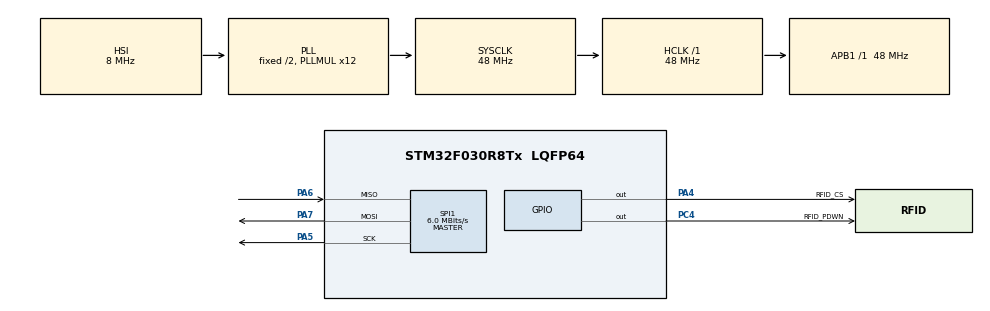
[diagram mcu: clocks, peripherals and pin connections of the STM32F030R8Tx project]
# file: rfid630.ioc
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Mcu.Family=STM32F0
Mcu.Name=STM32F030R8Tx
Mcu.Package=LQFP64
PA4.GPIO_Label=RFID_CS
PA4.Signal=GPIO_Output
PA5.Mode=Full_Duplex_Master
PA5.Signal=SPI1_SCK
PA6.Mode=Full_Duplex_Master
PA6.Signal=SPI1_MISO
PA7.Mode=Full_Duplex_Master
PA7.Signal=SPI1_MOSI
PC4.GPIO_Label=RFID_PDWN
PC4.Signal=GPIO_Output
ProjectManager.HeapSize=0x1000
ProjectManager.StackSize=0x1000
ProjectManager.TargetToolchain=EWARM V8
RCC.AHBFreq_Value=48000000
RCC.APB1Freq_Value=48000000
RCC.APB1TimFreq_Value=48000000
RCC.HCLKFreq_Value=48000000
RCC.PLLMUL=RCC_PLL_MUL12
RCC.SYSCLKFreq_VALUE=48000000
RCC.SYSCLKSource=RCC_SYSCLKSOURCE_PLLCLK
SPI1.BaudRatePrescaler=SPI_BAUDRATEPRESCALER_8
SPI1.CalculateBaudRate=6.0 MBits/s
SPI1.DataSize=SPI_DATASIZE_8BIT
SPI1.Direction=SPI_DIRECTION_2LINES
SPI1.Mode=SPI_MODE_MASTER
SPI1.VirtualType=VM_MASTER
board=custom

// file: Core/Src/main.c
/* USER CODE BEGIN Header */
/**
  ******************************************************************************
  * @file           : main.c
  * @brief          : Main program body
  ******************************************************************************
  * @attention
  *
  * <h2><center>&copy; Copyright (c) 2020 STMicroelectronics.
  * All rights reserved.</center></h2>
  *
  * This software component is licensed by ST under BSD 3-Clause license,
  * the "License"; You may not use this file except in compliance with the
  * License. You may obtain a copy of the License at:
  *                        opensource.org/licenses/BSD-3-Clause
  *
  ******************************************************************************
  */
/* USER CODE END Header */
#include "main.h"
#include "spi.h"
#include "gpio.h"

/* USER CODE BEGIN Includes */
#include <Adafruit_MFRC630.h>
/* USER CODE END Includes */

void SystemClock_Config(void);

/* USER CODE BEGIN 0 */

/* Use the default I2C address */
//MFRC630 rfid = MFRC630();

/* Prints out len bytes of hex data in table format. */
static void print_buf_hex(uint8_t* buf, size_t len)
{
    for (uint8_t i = 0; i < len; i++) {
        PRINT("0x%02x ", buf[i]);
    }
    PRINT("\r\n");
}

/*
 * This more concise loop show the minimim requirements to dump the first 39
 * 4 uint8_t blocks of memory from an NTAG2xx card. No meaningful error-handling
 * or debug output is present here, so this code is intended as a simple
 * starting point for further work.
 */
bool radio_ntag156b_dump_minimal(void)
{
    bool rc;

    /* Put the IC in a known-state. */
    mfrc630_softReset();

    /* Configure the radio for ISO14443A-106. */
    mfrc630_configRadio(MFRC630_RADIOCFG_ISO1443A_106);

    /* Request a tag (activates the near field, etc.). */
    uint16_t atqa = mfrc630_iso14443aRequest();

    /* Looks like we found a tag, move on to selection. */
    if (atqa) {
        /* NTAG has a ATQA of 00 44 (Ultralight does as well!). */
        if (atqa == 0x44) {
            uint8_t uid[10] = { 0 };
            uint8_t uidlen;
            uint8_t sak;

            /* Retrieve the UID and SAK values. */
            uidlen = mfrc630_iso14443aSelect(uid, &sak);
            PRINT("Found a tag with UUID ");
            for (uint8_t i = 0; i < uidlen; i++) {
                PRINT("0x%02x ", uid[i]);
            }

            PRINT("\r\n");
            if (uidlen == 7) {
                /* Try to read the first 42 pages from the card. */
                for (uint8_t i = 0; i < 42; i++) {
                    /* We should be able to read the page contents now. */
                    uint8_t pagebuf[4] = { 0, 0, 0, 0 };
                    uint8_t len = mfrc630_ntagReadPage(i, pagebuf);
                    PRINT("%d: ", i);
                    print_buf_hex(pagebuf, len);
                }
                rc = true;
            }
            else {
                /* Should be 7, not sure what kind of tag we have. */
                PRINT("Unexpected UID length: %d", uidlen);
                rc = false;
            }
        }
        else {
            /* Found a tag, but it isn't NTAG */
            PRINT("Unexpected ATQA value: %02", xatqa);
            rc = false;
        }
    }
    else {
        /* No tag found! */
        rc = false;
    }

    return rc;
}

/* USER CODE END 0 */

int main(void)
{

  /* MCU Configuration--------------------------------------------------------*/

  /* Reset of all peripherals, Initializes the Flash interface and the Systick. */
  HAL_Init();

  /* Configure the system clock */
  SystemClock_Config();

  /* Initialize all configured peripherals */
  MX_GPIO_Init();
  MX_SPI1_Init();
  /* USER CODE BEGIN 2 */

  /* Try to initialize the IC */
  if (!(mfrc630_begin())) {

    PRINT("Unable to initialize the MFRC630. Check wiring?\r\n");
    while(1) {
//      digitalWrite(LED_BUILTIN, HIGH);
      HAL_Delay(50);
//      digitalWrite(LED_BUILTIN, LOW);
      HAL_Delay(50);
    }
  }

  /*
   * This will be INCREDIBLY chatty on the I2C bus, but can be used as a
   * quick test to wait until a card enters the near field.
   */
  PRINT("Waiting for an ISO14443-A compatible card ...\r\n");
  while (!radio_ntag156b_dump_minimal())
  {
    HAL_Delay(50);
  }

  /* USER CODE END 2 */

  /* Infinite loop */
  while (1)
  {

  }
}

void SystemClock_Config(void)
{
  RCC_OscInitTypeDef RCC_OscInitStruct = {0};
  RCC_ClkInitTypeDef RCC_ClkInitStruct = {0};

  /** Initializes the RCC Oscillators according to the specified parameters
  * in the RCC_OscInitTypeDef structure.
  */
  RCC_OscInitStruct.OscillatorType = RCC_OSCILLATORTYPE_HSI;
  RCC_OscInitStruct.HSIState = RCC_HSI_ON;
  RCC_OscInitStruct.HSICalibrationValue = RCC_HSICALIBRATION_DEFAULT;
  RCC_OscInitStruct.PLL.PLLState = RCC_PLL_ON;
  RCC_OscInitStruct.PLL.PLLSource = RCC_PLLSOURCE_HSI;
  RCC_OscInitStruct.PLL.PLLMUL = RCC_PLL_MUL12;
  RCC_OscInitStruct.PLL.PREDIV = RCC_PREDIV_DIV1;
  if (HAL_RCC_OscConfig(&RCC_OscInitStruct) != HAL_OK)
  {
    Error_Handler();
  }
  /** Initializes the CPU, AHB and APB buses clocks
  */
  RCC_ClkInitStruct.ClockType = RCC_CLOCKTYPE_HCLK|RCC_CLOCKTYPE_SYSCLK
                              |RCC_CLOCKTYPE_PCLK1;
  RCC_ClkInitStruct.SYSCLKSource = RCC_SYSCLKSOURCE_PLLCLK;
  RCC_ClkInitStruct.AHBCLKDivider = RCC_SYSCLK_DIV1;
  RCC_ClkInitStruct.APB1CLKDivider = RCC_HCLK_DIV1;

  if (HAL_RCC_ClockConfig(&RCC_ClkInitStruct, FLASH_LATENCY_1) != HAL_OK)
  {
    Error_Handler();
  }
}

void Error_Handler(void)
{
}

/************************ (C) COPYRIGHT STMicroelectronics *****END OF FILE****/
